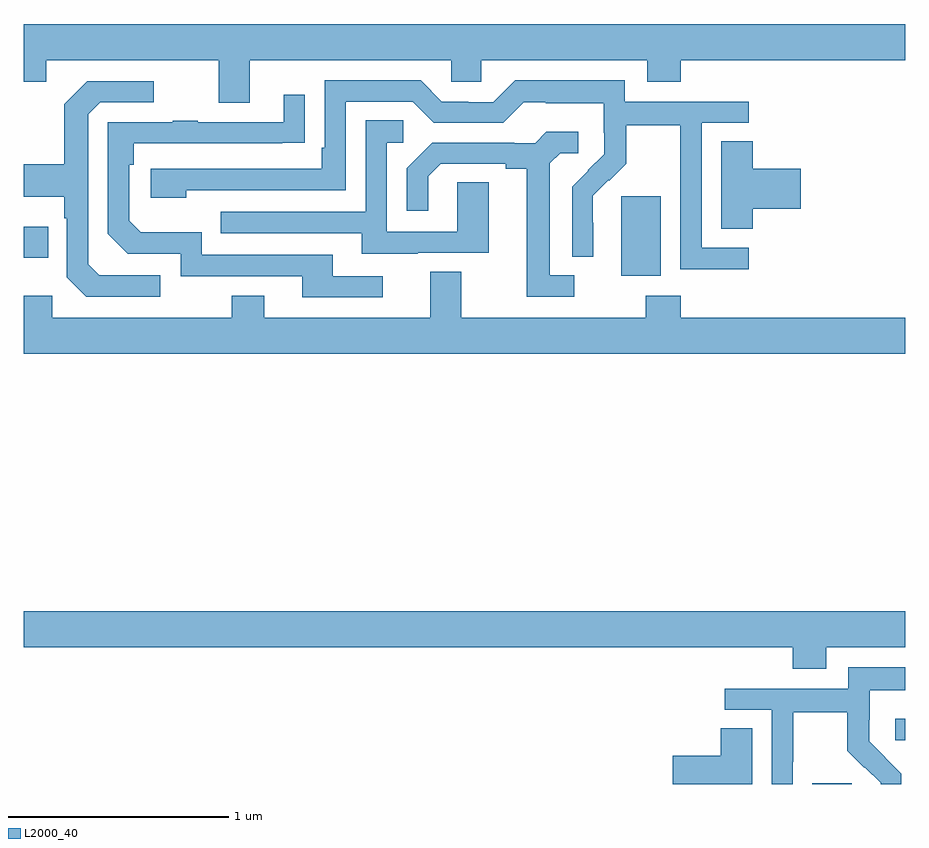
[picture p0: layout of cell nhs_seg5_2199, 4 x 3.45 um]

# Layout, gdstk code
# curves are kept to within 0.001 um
import gdstk
lib = gdstk.Library(unit=1e-6, precision=1e-09)
def R(c, l, rs):  # rectangles x0, y0, x1, y1
    for r in rs: c.add(gdstk.rectangle(r[:2], r[2:], *l))
def P(c, l, *ps):  # polygons
    for p in ps: c.add(gdstk.Polygon(p, *l))
L2000_40 = (2000, 40)

nhs_seg5_2199 = lib.new_cell('nhs_seg5_2199')
R(nhs_seg5_2199, L2000_40, [(242.579,862.799,242.758,862.803), (242.955,862.998,243,863.095), (241.712,865.106,241.891,865.467), (239,865.187,239.111,865.327)])
P(nhs_seg5_2199, L2000_40, [(239,865.985),(239.101,865.985),(239.101,866.084),(239.885,866.084),(239.885,865.89),(240.025,865.89),(240.025,866.084),(240.939,866.084),(240.939,865.986),(241.077,865.986),(241.077,866.084),(241.829,866.084),(241.829,865.985),(241.982,865.985),(241.982,866.084),(243,866.084),(243,866.248),(239,866.248)],
  [(242.29,865.233),(242.076,865.233),(242.076,865.8),(242.29,865.8),(242.29,865.896),(241.728,865.896),(241.728,865.993),(241.231,865.993),(241.131,865.893),(241.016,865.893),(241.016,865.896),(240.897,865.896),(240.801,865.992),(240.366,865.992),(240.366,865.687),(240.353,865.687),(240.353,865.59),(239.577,865.59),(239.577,865.46),(239.738,865.46),(239.738,865.494),(240.462,865.494),(240.462,865.896),(240.765,865.896),(240.861,865.8),(241.176,865.8),(241.269,865.893),(241.369,865.893),(241.369,865.889),(241.632,865.889),(241.632,865.755),(241.634,865.755),(241.634,865.658),(241.488,865.51),(241.488,865.192),(241.584,865.192),(241.583,865.469),(241.653,865.539),(241.656,865.536),(241.733,865.613),(241.733,865.788),(241.978,865.788),(241.978,865.564),(241.98,865.564),(241.98,865.135),(242.29,865.135)],
  [(239.62,865.107),(239.343,865.107),(239.292,865.158),(239.292,865.839),(239.346,865.893),(239.59,865.893),(239.59,865.989),(239.289,865.989),(239.184,865.883),(239.184,865.611),(239,865.611),(239,865.463),(239.184,865.463),(239.184,865.367),(239.196,865.367),(239.196,865.098),(239.283,865.011),(239.62,865.011)],
  [(240.628,865.104),(240.403,865.104),(240.403,865.2),(239.808,865.2),(239.808,865.303),(239.531,865.303),(239.478,865.356),(239.478,865.61),(239.498,865.61),(239.498,865.707),(240.275,865.708),(240.275,865.927),(240.179,865.927),(240.179,865.803),(239.789,865.803),(239.789,865.808),(239.677,865.808),(239.677,865.803),(239.382,865.803),(239.382,865.296),(239.472,865.206),(239.712,865.206),(239.712,865.104),(240.263,865.104),(240.263,865.008),(240.628,865.008)],
  [(240.787,865.209),(241.111,865.209),(241.111,865.529),(240.966,865.529),(240.966,865.305),(240.648,865.305),(240.648,865.71),(240.721,865.71),(240.721,865.811),(240.552,865.811),(240.552,865.395),(239.893,865.395),(239.893,865.299),(240.533,865.299),(240.533,865.205),(240.787,865.205)],
  [(241.498,865.107),(241.387,865.107),(241.387,865.615),(241.434,865.662),(241.516,865.662),(241.516,865.759),(241.372,865.759),(241.32,865.707),(241.226,865.707),(241.226,865.71),(240.854,865.71),(240.738,865.594),(240.738,865.401),(240.835,865.401),(240.835,865.557),(240.892,865.614),(241.187,865.614),(241.187,865.592),(241.283,865.592),(241.283,865.011),(241.498,865.011)],
  [(242.309,865.409),(242.527,865.409),(242.527,865.592),(242.309,865.592),(242.309,865.715),(242.165,865.715),(242.165,865.318),(242.309,865.318)],
  [(243,864.916),(241.982,864.916),(241.982,865.015),(241.822,865.015),(241.822,864.916),(240.985,864.916),(240.985,865.124),(240.845,865.124),(240.845,864.916),(240.091,864.916),(240.091,865.015),(239.944,865.015),(239.944,864.916),(239.13,864.916),(239.13,865.015),(239,865.015),(239,864.752),(243,864.752)],
  [(242.641,863.42),(243,863.42),(243,863.584),(239,863.584),(239,863.42),(242.489,863.42),(242.489,863.321),(242.641,863.321)],
  [(242.49,862.9),(242.493,862.9),(242.493,863.124),(242.737,863.124),(242.737,862.949),(242.814,862.872),(242.817,862.875),(242.888,862.805),(242.888,862.799),(242.982,862.799),(242.982,862.846),(242.836,862.994),(242.836,863.091),(242.838,863.091),(242.838,863.225),(243,863.225),(243,863.329),(242.742,863.329),(242.742,863.232),(242.181,863.232),(242.181,863.136),(242.394,863.136),(242.394,862.799),(242.49,862.799)],
  [(242.305,863.051),(242.162,863.051),(242.162,862.928),(241.944,862.928),(241.944,862.799),(242.305,862.799)])

lib.write_gds('nhs_seg5_2199.gds')
